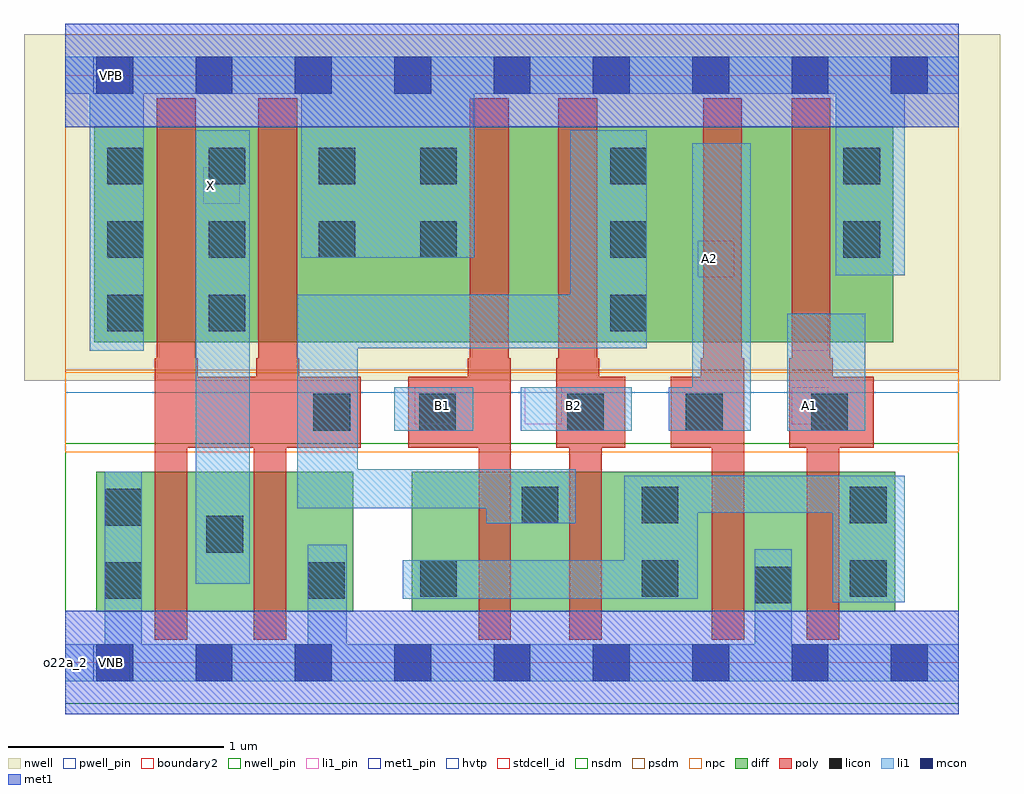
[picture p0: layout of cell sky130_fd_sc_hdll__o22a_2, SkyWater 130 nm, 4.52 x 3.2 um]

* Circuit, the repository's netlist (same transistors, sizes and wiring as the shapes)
* Copyright 2020 The SkyWater PDK Authors
*
* Licensed under the Apache License, Version 2.0 (the "License");
* you may not use this file except in compliance with the License.
* You may obtain a copy of the License at
*
*     https://www.apache.org/licenses/LICENSE-2.0
*
* Unless required by applicable law or agreed to in writing, software
* distributed under the License is distributed on an "AS IS" BASIS,
* WITHOUT WARRANTIES OR CONDITIONS OF ANY KIND, either express or implied.
* See the License for the specific language governing permissions and
* limitations under the License.
*
* SPDX-License-Identifier: Apache-2.0

.SUBCKT sky130_fd_sc_hdll__o22a_2 A1 A2 B1 B2 VGND VNB VPB VPWR X
*.PININFO A1:I A2:I B1:I B2:I VGND:I VNB:I VPB:I VPWR:I X:O
MMPA0 VPWR A1 sndA1 VPB sky130_fd_pr__pfet_01v8_hvt m=1 w=1.0U l=0.18U mult=1 sa=0.265
+ sb=0.265 sd=0.28 area=0.063 perim=1.14
MMPA1 sndA1 A2 y VPB sky130_fd_pr__pfet_01v8_hvt m=1 w=1.0U l=0.18U mult=1 sa=0.265
+ sb=0.265 sd=0.28 area=0.063 perim=1.14
MMPB0 VPWR B1 sndB1 VPB sky130_fd_pr__pfet_01v8_hvt m=1 w=1.0U l=0.18U mult=1 sa=0.265
+ sb=0.265 sd=0.28 area=0.063 perim=1.14
MMPB1 sndB1 B2 y VPB sky130_fd_pr__pfet_01v8_hvt m=1 w=1.0U l=0.18U mult=1 sa=0.265
+ sb=0.265 sd=0.28 area=0.063 perim=1.14
MMIPX X y VPWR VPB sky130_fd_pr__pfet_01v8_hvt m=2 w=1.0U l=0.18U mult=1 sa=0.265
+ sb=0.265 sd=0.28 area=0.063 perim=1.14
MMNA0 pndA A1 VGND VNB sky130_fd_pr__nfet_01v8 m=1 w=0.65U l=0.15U mult=1 sa=0.265
+ sb=0.265 sd=0.28 area=0.063 perim=1.14
MMNA1 pndA A2 VGND VNB sky130_fd_pr__nfet_01v8 m=1 w=0.65U l=0.15U mult=1 sa=0.265
+ sb=0.265 sd=0.28 area=0.063 perim=1.14
MMNB0 y B1 pndA VNB sky130_fd_pr__nfet_01v8 m=1 w=0.65U l=0.15U mult=1 sa=0.265
+ sb=0.265 sd=0.28 area=0.063 perim=1.14
MMNB1 y B2 pndA VNB sky130_fd_pr__nfet_01v8 m=1 w=0.65U l=0.15U mult=1 sa=0.265
+ sb=0.265 sd=0.28 area=0.063 perim=1.14
MMINX X y VGND VNB sky130_fd_pr__nfet_01v8 m=2 w=0.65U l=0.15U mult=1 sa=0.265
+ sb=0.265 sd=0.28 area=0.063 perim=1.14
.ENDS sky130_fd_sc_hdll__o22a_2

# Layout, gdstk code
import gdstk
lib = gdstk.Library(unit=1e-6, precision=1e-09)
def R(c, l, rs):  # rectangles x0, y0, x1, y1
    for r in rs: c.add(gdstk.rectangle(r[:2], r[2:], *l))
def A(c, l, x, y, w, h, nx, ny, dx, dy):  # array of equal rectangles
    R(c, l, [(x+i*dx, y+j*dy, x+i*dx+w, y+j*dy+h) for i in range(nx) for j in range(ny)])
def P(c, l, *ps):  # polygons
    for p in ps: c.add(gdstk.Polygon(p, *l))
nwell_pin = (64, 16)
nwell = (64, 20)
diff = (65, 20)
poly = (66, 20)
licon = (66, 44)
li1_pin = (67, 16)
li1 = (67, 20)
mcon = (67, 44)
met1_pin = (68, 16)
met1 = (68, 20)
hvtp = (78, 44)
stdcell_id = (81, 4)
nsdm = (93, 44)
psdm = (94, 20)
npc = (95, 20)
pwell_pin = (122, 16)
boundary2 = (236, 0)

sky130_fd_sc_hdll__o22a_ = lib.new_cell('sky130_fd_sc_hdll__o22a_2')
R(sky130_fd_sc_hdll__o22a_, nwell_pin, [(0.13,2.635,0.3,2.805)])
R(sky130_fd_sc_hdll__o22a_, nwell, [(-0.19,1.305,4.33,2.91)])
R(sky130_fd_sc_hdll__o22a_, diff, [(0.145,0.235,1.335,0.885), (1.605,0.235,3.845,0.885), (0.135,1.485,3.835,2.485)])
P(sky130_fd_sc_hdll__o22a_, poly, [(1.37,1.325),(1.085,1.325),(1.085,1.41),(1.075,1.41),(1.075,2.615),(0.895,2.615),(0.895,1.41),(0.885,1.41),(0.885,1.325),(0.615,1.325),(0.615,1.41),(0.605,1.41),(0.605,2.615),(0.425,2.615),(0.425,1.41),(0.415,1.41),(0.415,0.105),(0.565,0.105),(0.565,0.995),(0.875,0.995),(0.875,0.105),(1.025,0.105),(1.025,0.995),(1.37,0.995)],
  [(2.065,1.41),(2.055,1.41),(2.055,2.615),(1.875,2.615),(1.875,1.41),(1.865,1.41),(1.865,1.325),(1.59,1.325),(1.59,0.995),(1.915,0.995),(1.915,0.105),(2.065,0.105)],
  [(2.595,1.325),(2.475,1.325),(2.475,1.41),(2.465,1.41),(2.465,2.615),(2.285,2.615),(2.285,1.41),(2.275,1.41),(2.275,0.995),(2.335,0.995),(2.335,0.105),(2.485,0.105),(2.485,0.995),(2.595,0.995)],
  [(3.145,1.41),(3.135,1.41),(3.135,2.615),(2.955,2.615),(2.955,1.41),(2.945,1.41),(2.945,1.325),(2.805,1.325),(2.805,0.995),(2.995,0.995),(2.995,0.105),(3.145,0.105)],
  [(3.745,1.325),(3.555,1.325),(3.555,1.41),(3.545,1.41),(3.545,2.615),(3.365,2.615),(3.365,1.41),(3.355,1.41),(3.355,0.995),(3.435,0.995),(3.435,0.105),(3.585,0.105),(3.585,0.995),(3.745,0.995)])
A(sky130_fd_sc_hdll__o22a_, licon, 0.195, 1.535, 0.17, 0.17, 1, 3, 0, 0.34)
A(sky130_fd_sc_hdll__o22a_, licon, 0.665, 1.535, 0.17, 0.17, 1, 3, 0, 0.34)
A(sky130_fd_sc_hdll__o22a_, licon, 2.525, 1.535, 0.17, 0.17, 1, 3, 0, 0.34)
R(sky130_fd_sc_hdll__o22a_, licon, [(3.195,0.275,3.365,0.445), (0.185,0.295,0.355,0.465), (1.125,0.295,1.295,0.465), (1.645,0.305,1.815,0.475), (2.67,0.305,2.84,0.475), (3.635,0.305,3.805,0.475), (0.655,0.51,0.825,0.68), (0.185,0.635,0.355,0.805), (2.115,0.645,2.285,0.815), (2.67,0.645,2.84,0.815), (3.635,0.645,3.805,0.815), (1.15,1.075,1.32,1.245), (1.64,1.075,1.81,1.245), (2.325,1.075,2.495,1.245), (2.875,1.075,3.045,1.245), (3.455,1.075,3.625,1.245), (1.175,1.875,1.345,2.045), (1.645,1.875,1.815,2.045), (3.605,1.875,3.775,2.045), (1.175,2.215,1.345,2.385), (1.645,2.215,1.815,2.385), (3.605,2.215,3.775,2.385)])
R(sky130_fd_sc_hdll__o22a_, li1_pin, [(1.62,1.105,1.79,1.275), (2.13,1.105,2.3,1.275), (3.365,1.105,3.535,1.275), (3.365,1.445,3.535,1.615), (2.93,1.785,3.1,1.955), (0.64,2.125,0.81,2.295)])
R(sky130_fd_sc_hdll__o22a_, li1, [(0.605,0.365,0.855,2.465), (1.525,1.075,1.89,1.275), (2.11,1.075,2.625,1.275), (3.345,1.075,3.705,1.615)])
P(sky130_fd_sc_hdll__o22a_, li1, [(2.695,2.465),(2.34,2.465),(2.34,1.705),(1.075,1.705),(1.075,0.715),(1.95,0.715),(1.95,0.645),(2.365,0.645),(2.365,0.895),(1.355,0.895),(1.355,1.455),(2.695,1.455)],
  [(3.175,2.405),(2.905,2.405),(2.905,1.275),(2.795,1.275),(2.795,1.075),(3.175,1.075)],
  [(3.89,0.865),(2.59,0.865),(2.59,0.475),(1.565,0.475),(1.565,0.295),(2.93,0.295),(2.93,0.695),(3.555,0.695),(3.555,0.28),(3.89,0.28)],
  [(4.14,2.805),(0,2.805),(0,2.635),(0.115,2.635),(0.115,1.445),(0.365,1.445),(0.365,2.635),(1.095,2.635),(1.095,1.875),(1.895,1.875),(1.895,2.635),(3.57,2.635),(3.57,1.795),(3.89,1.795),(3.89,2.635),(4.14,2.635)],
  [(4.14,0.085),(3.365,0.085),(3.365,0.525),(3.195,0.525),(3.195,0.085),(1.305,0.085),(1.305,0.545),(1.125,0.545),(1.125,0.085),(0.355,0.085),(0.355,0.885),(0.185,0.885),(0.185,0.085),(0,0.085),(0,-0.085),(4.14,-0.085)])
A(sky130_fd_sc_hdll__o22a_, mcon, 0.145, -0.085, 0.17, 0.17, 9, 2, 0.46, 2.72)
R(sky130_fd_sc_hdll__o22a_, met1_pin, [(0.13,-0.085,0.3,0.085), (0.13,2.635,0.3,2.805)])
R(sky130_fd_sc_hdll__o22a_, met1, [(0,-0.24,4.14,0.24), (0,2.48,4.14,2.96)])
R(sky130_fd_sc_hdll__o22a_, hvtp, [(0,1.25,4.14,2.72)])
R(sky130_fd_sc_hdll__o22a_, stdcell_id, [(0,0,4.14,2.72)])
R(sky130_fd_sc_hdll__o22a_, nsdm, [(0,-0.19,4.14,1.015)])
R(sky130_fd_sc_hdll__o22a_, psdm, [(0,1.355,4.14,2.91)])
R(sky130_fd_sc_hdll__o22a_, npc, [(0,0.975,4.14,1.345)])
R(sky130_fd_sc_hdll__o22a_, pwell_pin, [(0.13,-0.085,0.3,0.085)])
R(sky130_fd_sc_hdll__o22a_, boundary2, [(0,0,4.14,2.72)])
sky130_fd_sc_hdll__o22a_.add(gdstk.Label('A2', (2.985,1.87), layer=67, texttype=5))
sky130_fd_sc_hdll__o22a_.add(gdstk.Label('X', (0.675,2.21), layer=67, texttype=5))
sky130_fd_sc_hdll__o22a_.add(gdstk.Label('B1', (1.75,1.19), layer=67, texttype=5))
sky130_fd_sc_hdll__o22a_.add(gdstk.Label('A1', (3.45,1.19), layer=67, texttype=5))
sky130_fd_sc_hdll__o22a_.add(gdstk.Label('B2', (2.355,1.19), layer=67, texttype=5))
sky130_fd_sc_hdll__o22a_.add(gdstk.Label('VNB', (0.215,0), layer=64, texttype=59))
sky130_fd_sc_hdll__o22a_.add(gdstk.Label('VPB', (0.215,2.72), layer=64, texttype=5))
sky130_fd_sc_hdll__o22a_.add(gdstk.Label('VGND', (0.23,0), layer=68, texttype=5))
sky130_fd_sc_hdll__o22a_.add(gdstk.Label('VPWR', (0.23,2.72), layer=68, texttype=5))
sky130_fd_sc_hdll__o22a_.add(gdstk.Label('o22a_2', (0,0), layer=83, texttype=44))

lib.write_gds('sky130_fd_sc_hdll__o22a_2.gds')
